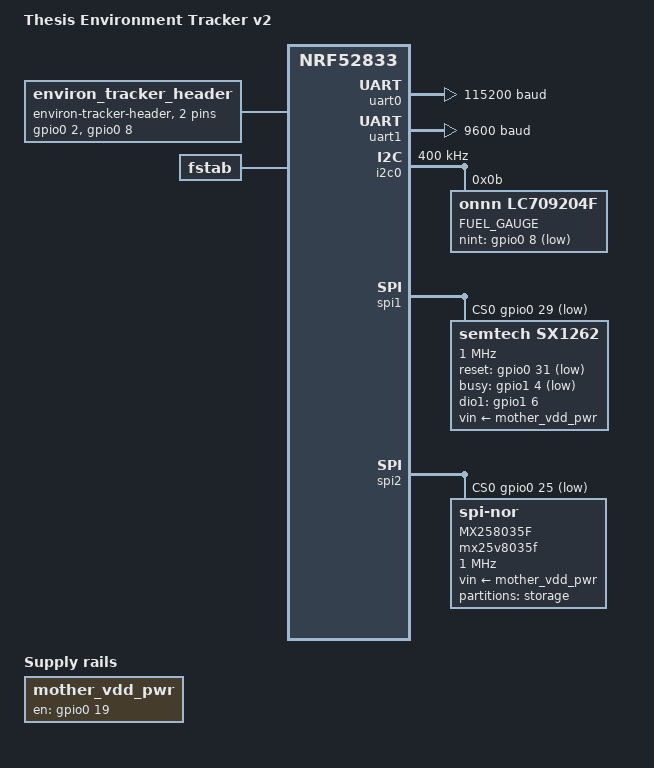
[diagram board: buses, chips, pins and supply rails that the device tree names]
/dts-v1/;
#include <nordic/nrf52833_qiaa.dtsi>
#include "environ_tracker2-pinctrl.dtsi"

/ {
    model = "Thesis Environment Tracker v2";
    compatible = "nordic,environ_tracker2";

    chosen {
        zephyr,console = &uart0;
        zephyr,shell-uart = &uart0;
        zephyr,sram = &sram0;
        zephyr,flash = &flash0;
        zephyr,code-partition = &flash0;
    };

    /* Aliases provided for compatibility with samples */
    aliases {
        lora0 = &lora;
    };

    connections {
        bat_chrg: bat_chrg_0 {
            gpios = <&gpio0 1 (GPIO_PULL_UP | GPIO_ACTIVE_LOW)>;
            label = "battery-charge-input";
        };
    };

    environ_tracker_header: connector {
        compatible = "environ-tracker-header";
        #gpio-cells = <2>;
        gpio-map-mask = <0xffffffff 0xffffffc0>;
        gpio-map-pass-thru = <0 0x3f>;
        gpio-map =  <0 0 &gpio0 2 0>,
                    <1 0 &gpio0 8 0>;
    };

    mother_vdd_pwr: mvdd-pwr-ctrl {
        compatible = "regulator-fixed";
        label = "mother-vdd-pwr-ctrl";
        regulator-name = "mother-vdd-pwr-ctrl";
        enable-gpios = <&gpio0 19 GPIO_ACTIVE_HIGH>;
        regulator-boot-on;
    };

    fstab {
        compatible = "zephyr,fstab";
        lfs: lfs {
            compatible = "zephyr,fstab,littlefs";
            mount-point = "/lfs";
            partition = <&storage_partition>;
            automount;
            read-size = <16>;
            prog-size = <16>;
            cache-size = <64>;
            lookahead-size = <32>;
            block-cycles = <512>;
            // no-format;
        };
    };
};

&gpiote {
    status = "okay";
};

&gpio0 {
    status = "okay";
};

&gpio1 {
    status = "okay";
};

&uart0 {
    compatible = "nordic,nrf-uarte";
    status = "okay";
    current-speed = <115200>;
    pinctrl-0 = <&uart0_default>;
    pinctrl-1 = <&uart0_sleep>;
    pinctrl-names = "default", "sleep";
};

/* uart for zoe-m8q */
&uart1 {
    compatible = "nordic,nrf-uarte";
    status = "okay";
    current-speed = <9600>;
    pinctrl-0 = <&uart1_default>;
    pinctrl-1 = <&uart1_sleep>;
    pinctrl-names = "default", "sleep";

//     // zoem8q: zoem8q@0 { /* TODO: port this */
//     //     reg = <0>;
//     //     label = "ZOE-M8Q";
//     //     vin-supply = <&mother_vdd_pwr>;
//     //     tx-ready-gpios = <&gpio0 10 GPIO_ACTIVE_LOW>;
//     //     reset-gpios = <&gpio1 9 GPIO_ACTIVE_LOW>;
//     // }
};

shieldi2c: &i2c0 {
    compatible = "nordic,nrf-twim";
    status = "okay";
    clock-frequency = <I2C_BITRATE_FAST>;
    pinctrl-0 = <&i2c0_default>;
    pinctrl-1 = <&i2c0_sleep>;
    pinctrl-names = "default", "sleep";
    lc709204f: lc709204f@b {
        compatible = "onnn,lc709204f";
        reg = <0x0b>;
        label = "FUEL_GAUGE";
        design-capacity = <400>;
        design-voltage = <3700>;
        desired-voltage = <4200>;
        empty-voltage = <3200>;
        desired-charging-current = <1000>;
        chg-term-current = <1000>;
        apa-value = <0x1e1e>;
        battery-type = <0>;
        nint-gpios = <&gpio0 8 GPIO_ACTIVE_LOW>;
    };

    // TODO: provide support for RTC
    // rv3028c7: rv3028c7@52 {
    //     compatible = "";
    //     reg = <52>;
    //     label = "EXT_RTC";
    //     irq-gpios = <&gpio1 5 (GPIO_PULL_UP | GPIO_ACTIVE_LOW)>;
    // };
};

/* LORA spi */
&spi1 {
    compatible = "nordic,nrf-spim";
    status = "okay";
    pinctrl-0 = <&spi1_default>;
    pinctrl-1 = <&spi1_sleep>;
    pinctrl-names = "default", "sleep";
    cs-gpios = <&gpio0 29 GPIO_ACTIVE_LOW>;
    lora: sx1262@0 {
        compatible = "semtech,sx1262";
        reg = <0>;
        label = "SX1262";
        vin-supply = <&mother_vdd_pwr>;
        reset-gpios = <&gpio0 31 (GPIO_PULL_UP | GPIO_ACTIVE_LOW)>;
        busy-gpios = <&gpio1 4 GPIO_ACTIVE_LOW>;
        dio1-gpios = <&gpio1 6 GPIO_ACTIVE_HIGH>;
        spi-max-frequency = <1000000>;
    };
};

/* external flash SPI */
&spi2 {
    compatible = "nordic,nrf-spim";
    status = "okay";
    pinctrl-0 = <&spi2_default>;
    pinctrl-1 = <&spi2_sleep>;
    pinctrl-names = "default", "sleep";
    cs-gpios = <&gpio0 25 GPIO_ACTIVE_LOW>;
    mx25v8035f: mx25v8035f@0 {
        compatible = "jedec,spi-nor";
        reg = <0>;
        label = "MX258035F";
        vin-supply = <&mother_vdd_pwr>;
        spi-max-frequency = <1000000>;
        jedec-id = [c2 23 14];
        size = <8388608>;
        has-dpd;
        t-enter-dpd = <30000>;
        t-exit-dpd = <35000>;

        partitions {
            compatible = "fixed-partitions";
            #address-cells = <1>;
            #size-cells = <1>;    
            storage_partition: partition@0 {
                label = "storage";
                reg = <0x00000000 0x00100000>;
            };
        };
    };
};

&flash0 {
    partitions {
        compatible = "fixed-partitions";
        #address-cells = <1>;
        #size-cells = <1>;

        /*
            * The flash starting at 0x0007a000 and ending at
            * 0x0007ffff (sectors 122-127) is reserved for use
            * by the application.
            * Storage partition will be used by FCB/LittleFS/NVS
            * if enabled.
            */
        settings_partition: partition@7a000 {
            label = "settings";
            reg = <0x0007a000 0x00006000>;
        };
    };
};

